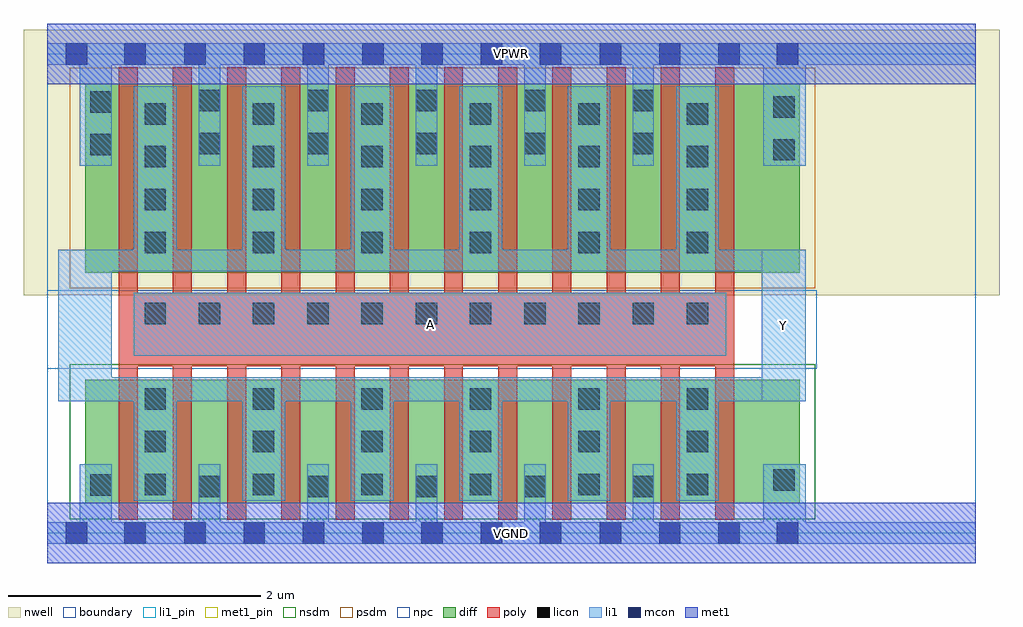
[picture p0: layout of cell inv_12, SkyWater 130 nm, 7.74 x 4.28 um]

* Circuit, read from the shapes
.subckt inv_12 A VGND VPWR Y
XM1 Y A VGND VSUBS sky130_fd_pr__nfet_01v8 w=0.98 l=0.15 m=12
XM2 Y A VPWR n1 sky130_fd_pr__pfet_01v8 w=1.5 l=0.15 m=12
.ends

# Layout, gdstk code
import gdstk
lib = gdstk.Library(unit=1e-6, precision=1e-09)
def R(c, l, rs):  # rectangles x0, y0, x1, y1
    for r in rs: c.add(gdstk.rectangle(r[:2], r[2:], *l))
def A(c, l, x, y, w, h, nx, ny, dx, dy):  # array of equal rectangles
    R(c, l, [(x+i*dx, y+j*dy, x+i*dx+w, y+j*dy+h) for i in range(nx) for j in range(ny)])
nwell = (64, 20)
diff = (65, 20)
poly = (66, 20)
licon = (66, 44)
li1_pin = (67, 16)
li1 = (67, 20)
mcon = (67, 44)
met1_pin = (68, 16)
met1 = (68, 20)
nsdm = (93, 44)
psdm = (94, 20)
npc = (95, 20)
boundary = (235, 4)

inv_12 = lib.new_cell('inv_12')
R(inv_12, nwell, [(-0.19,1.885,7.55,3.99), (0,1.885,7.36,3.99)])
R(inv_12, diff, [(0.3,0.235,5.965,1.215), (0.3,2.065,5.965,3.565)])
A(inv_12, poly, 0.565, 0.105, 0.15, 3.59, 12, 1, 0.43, 0)
R(inv_12, poly, [(0.565,1.325,5.445,1.905)])
A(inv_12, licon, 1.2, 0.285, 0.17, 0.17, 5, 2, 0.86, 2.72)
A(inv_12, licon, 0.77, 0.3, 0.17, 0.17, 6, 3, 0.86, 0.34)
A(inv_12, licon, 0.77, 1.655, 0.17, 0.17, 11, 1, 0.43, 0)
A(inv_12, licon, 0.77, 2.22, 0.17, 0.17, 6, 4, 0.86, 0.34)
A(inv_12, licon, 1.2, 3.345, 0.17, 0.17, 5, 1, 0.86, 0)
R(inv_12, licon, [(0.34,0.295,0.51,0.465), (5.755,0.335,5.925,0.505), (5.755,2.955,5.925,3.125), (0.34,2.995,0.51,3.165), (5.755,3.295,5.925,3.465), (0.34,3.335,0.51,3.505)])
R(inv_12, li1_pin, [(5.665,1.045,6.015,2.245), (0.685,1.405,5.385,1.905)])
A(inv_12, li1, 1.2, -0.085, 0.17, 0.63, 5, 1, 0.86, 0)
A(inv_12, li1, 0.685, 0.255, 0.34, 0.98, 6, 1, 0.86, 0)
A(inv_12, li1, 0.685, 2.075, 0.34, 1.47, 6, 1, 0.86, 0)
A(inv_12, li1, 1.2, 2.915, 0.17, 0.97, 5, 1, 0.86, 0)
R(inv_12, li1, [(0,-0.085,7.36,0.085), (0.255,-0.085,0.51,0.545), (5.675,-0.085,6.015,0.545), (0.085,1.045,6.015,1.235), (0.085,1.045,0.51,2.245), (5.665,1.045,6.015,2.245), (0.685,1.405,5.385,1.905), (0.085,2.075,6.015,2.245), (0.255,2.915,0.51,3.885), (5.675,2.915,6.015,3.885), (0,3.715,7.36,3.885)])
A(inv_12, mcon, 1.085, -0.085, 0.17, 0.17, 7, 2, 0.47, 3.8)
A(inv_12, mcon, 4.38, -0.085, 0.17, 0.17, 3, 2, 0.47, 3.8)
R(inv_12, mcon, [(0.145,-0.085,0.315,0.085), (0.61,-0.085,0.78,0.085), (5.785,-0.085,5.955,0.085), (0.145,3.715,0.315,3.885), (0.61,3.715,0.78,3.885), (5.785,3.715,5.955,3.885)])
R(inv_12, met1_pin, [(0,-0.24,7.36,0.24), (0,3.56,7.36,4.04)])
R(inv_12, met1, [(0,-0.24,7.36,0.24), (0,3.56,7.36,4.04)])
R(inv_12, nsdm, [(0.175,0.11,6.09,1.34)])
R(inv_12, psdm, [(0.175,1.94,6.09,3.69)])
R(inv_12, npc, [(0,1.305,6.1,1.925)])
R(inv_12, boundary, [(0,0,7.36,3.8)])
inv_12.add(gdstk.Label('A', (3.035,1.655), layer=67, texttype=5))
inv_12.add(gdstk.Label('Y', (5.84,1.645), layer=67, texttype=5))
inv_12.add(gdstk.Label('VPWR', (3.68,3.8), layer=68, texttype=5))
inv_12.add(gdstk.Label('VGND', (3.68,0), layer=68, texttype=5))
inv_12.add(gdstk.Label('A', (3.035,1.655), layer=67, texttype=16))
inv_12.add(gdstk.Label('Y', (5.84,1.645), layer=67, texttype=16))
inv_12.add(gdstk.Label('VPWR', (3.68,3.8), layer=68, texttype=16))
inv_12.add(gdstk.Label('VGND', (3.68,0), layer=68, texttype=16))

lib.write_gds('inv_12.gds')
